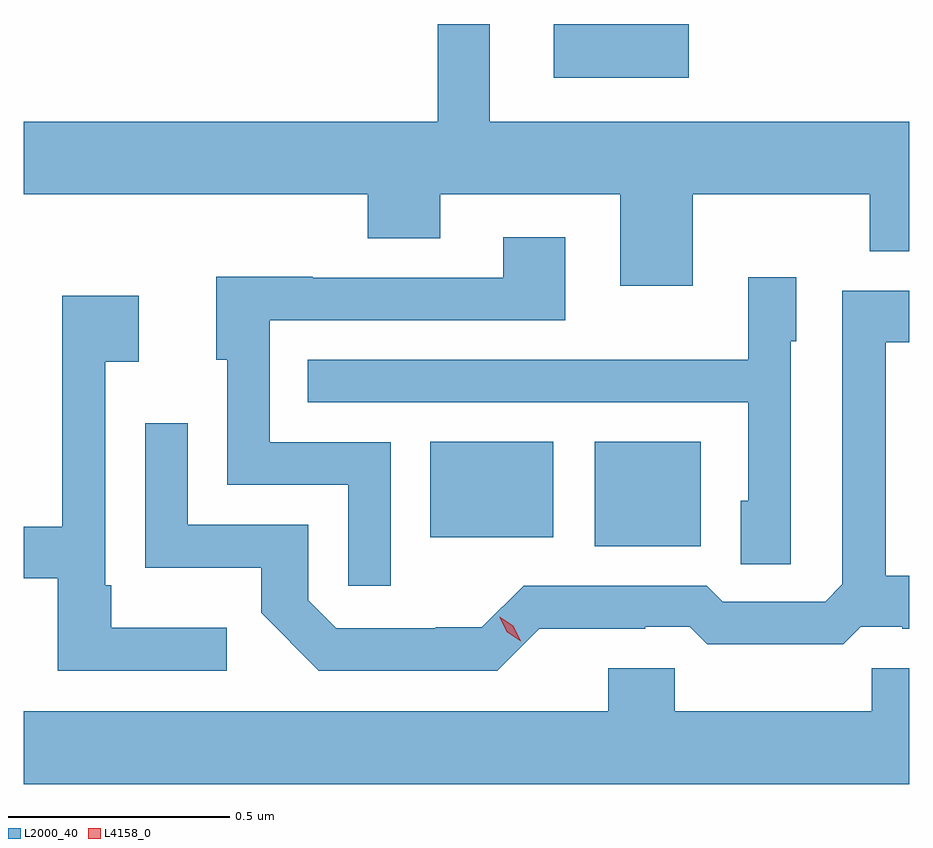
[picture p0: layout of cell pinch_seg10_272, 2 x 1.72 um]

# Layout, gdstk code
import gdstk
lib = gdstk.Library(unit=1e-6, precision=1e-09)
def R(c, l, rs):  # rectangles x0, y0, x1, y1
    for r in rs: c.add(gdstk.rectangle(r[:2], r[2:], *l))
def P(c, l, *ps):  # polygons
    for p in ps: c.add(gdstk.Polygon(p, *l))
L2000_40 = (2000, 40)
L4158_0 = (4158, 0)

pinch_seg10_272 = lib.new_cell('pinch_seg10_272')
R(pinch_seg10_272, L2000_40, [(554.012,1308.845,554.251,1309.081), (553.64,1308.866,553.918,1309.081), (553.919,1309.904,554.224,1310.025)])
P(pinch_seg10_272, L2000_40, [(554.233,1309.64),(554.633,1309.64),(554.633,1309.512),(554.722,1309.512),(554.722,1309.804),(553.774,1309.804),(553.774,1310.025),(553.657,1310.025),(553.657,1309.804),(552.722,1309.804),(552.722,1309.64),(553.499,1309.64),(553.499,1309.541),(553.663,1309.541),(553.663,1309.64),(554.069,1309.64),(554.069,1309.434),(554.233,1309.434)],
  [(553.551,1309.08),(553.278,1309.08),(553.278,1309.356),(553.945,1309.356),(553.945,1309.543),(553.805,1309.543),(553.805,1309.452),(553.375,1309.452),(553.375,1309.454),(553.157,1309.454),(553.157,1309.266),(553.182,1309.266),(553.182,1308.984),(553.455,1308.984),(553.455,1308.756),(553.551,1308.756)],
  [(554.454,1309.308),(554.467,1309.308),(554.467,1309.453),(554.358,1309.453),(554.358,1309.267),(554.041,1309.267),(554.041,1309.266),(553.363,1309.266),(553.363,1309.17),(554.358,1309.17),(554.358,1308.948),(554.342,1308.948),(554.342,1308.805),(554.454,1308.805)],
  [(553.886,1308.659),(554.126,1308.659),(554.126,1308.663),(554.226,1308.663),(554.266,1308.624),(554.573,1308.624),(554.613,1308.663),(554.707,1308.663),(554.707,1308.659),(554.722,1308.659),(554.722,1308.779),(554.669,1308.779),(554.669,1309.306),(554.722,1309.306),(554.722,1309.422),(554.571,1309.422),(554.571,1308.759),(554.532,1308.72),(554.301,1308.72),(554.265,1308.756),(553.851,1308.756),(553.757,1308.662),(553.652,1308.662),(553.652,1308.66),(553.428,1308.66),(553.365,1308.723),(553.365,1308.894),(553.092,1308.894),(553.092,1309.123),(552.996,1309.123),(552.996,1308.797),(553.258,1308.797),(553.258,1308.695),(553.388,1308.564),(553.791,1308.564)],
  [(553.18,1308.661),(552.919,1308.661),(552.919,1308.757),(552.906,1308.757),(552.906,1309.262),(552.982,1309.262),(552.982,1309.411),(552.809,1309.411),(552.809,1308.889),(552.722,1308.889),(552.722,1308.773),(552.798,1308.773),(552.798,1308.564),(553.18,1308.564)],
  [(554.722,1308.57),(554.638,1308.57),(554.638,1308.472),(554.193,1308.472),(554.193,1308.57),(554.042,1308.57),(554.042,1308.472),(552.722,1308.472),(552.722,1308.308),(554.722,1308.308)])
P(pinch_seg10_272, L4158_0, [(553.844,1308.63),(553.813,1308.652),(553.797,1308.685),(553.797,1308.686),(553.797,1308.686),(553.828,1308.665),(553.844,1308.631),(553.844,1308.63)])

lib.write_gds('pinch_seg10_272.gds')
